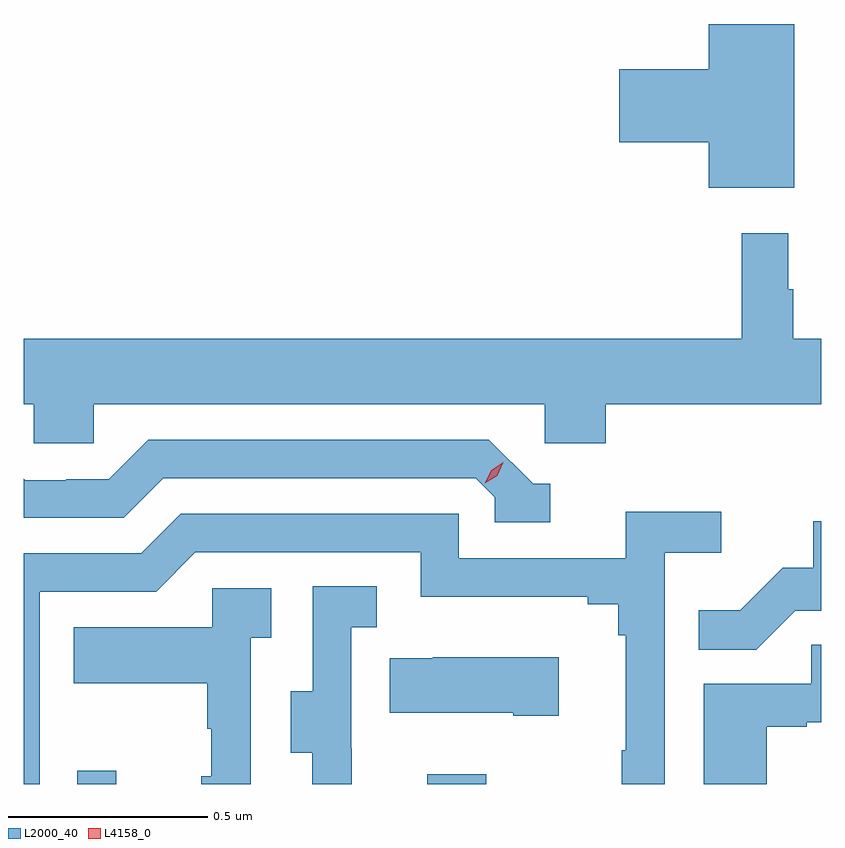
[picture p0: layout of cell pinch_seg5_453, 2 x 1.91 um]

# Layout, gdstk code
import gdstk
lib = gdstk.Library(unit=1e-6, precision=1e-09)
def R(c, l, rs):  # rectangles x0, y0, x1, y1
    for r in rs: c.add(gdstk.rectangle(r[:2], r[2:], *l))
def P(c, l, *ps):  # polygons
    for p in ps: c.add(gdstk.Polygon(p, *l))
L2000_40 = (2000, 40)
L4158_0 = (4158, 0)

pinch_seg5_453 = lib.new_cell('pinch_seg5_453')
R(pinch_seg5_453, L2000_40, [(900.813,873.124,900.911,873.157), (901.691,873.124,901.839,873.148)])
P(pinch_seg5_453, L2000_40, [(902.611,875.029),(902.396,875.029),(902.396,874.916),(902.172,874.916),(902.172,874.733),(902.396,874.733),(902.396,874.619),(902.611,874.619)],
  [(900.855,874.076),(901.986,874.076),(901.986,873.978),(902.138,873.978),(902.138,874.076),(902.679,874.076),(902.679,874.24),(902.608,874.24),(902.608,874.364),(902.596,874.364),(902.596,874.504),(902.479,874.504),(902.479,874.24),(900.679,874.24),(900.679,874.076),(900.705,874.076),(900.705,873.978),(900.855,873.978)],
  [(901.999,873.876),(901.956,873.876),(901.845,873.987),(900.992,873.987),(900.893,873.888),(900.786,873.888),(900.786,873.885),(900.683,873.885),(900.679,873.889),(900.679,873.792),(900.93,873.792),(901.029,873.891),(901.812,873.891),(901.86,873.843),(901.86,873.78),(901.999,873.78)],
  [(900.72,873.606),(901.011,873.606),(901.11,873.705),(901.674,873.705),(901.674,873.593),(902.093,873.593),(902.093,873.574),(902.17,873.574),(902.17,873.497),(902.189,873.497),(902.189,873.209),(902.178,873.209),(902.178,873.124),(902.286,873.124),(902.286,873.704),(902.428,873.704),(902.428,873.806),(902.189,873.806),(902.189,873.69),(901.77,873.69),(901.77,873.801),(901.073,873.801),(900.974,873.702),(900.679,873.702),(900.679,873.124),(900.72,873.124)],
  [(902.613,873.558),(902.679,873.558),(902.679,873.783),(902.659,873.783),(902.659,873.666),(902.582,873.666),(902.475,873.559),(902.371,873.559),(902.371,873.46),(902.515,873.46)],
  [(901.502,873.213),(901.5,873.213),(901.5,873.517),(901.564,873.517),(901.564,873.62),(901.404,873.62),(901.404,873.357),(901.349,873.357),(901.349,873.202),(901.403,873.202),(901.403,873.124),(901.502,873.124)],
  [(901.248,873.491),(901.3,873.491),(901.3,873.615),(901.152,873.615),(901.152,873.517),(900.805,873.517),(900.805,873.377),(901.14,873.377),(901.14,873.263),(901.15,873.263),(901.15,873.144),(901.124,873.144),(901.124,873.124),(901.248,873.124)],
  [(902.542,873.267),(902.642,873.267),(902.642,873.279),(902.679,873.279),(902.679,873.473),(902.653,873.473),(902.653,873.375),(902.384,873.375),(902.384,873.124),(902.542,873.124)],
  [(902.02,873.442),(901.705,873.442),(901.705,873.439),(901.597,873.439),(901.597,873.302),(901.907,873.302),(901.907,873.295),(902.02,873.295)])
P(pinch_seg5_453, L4158_0, [(901.835,873.878),(901.835,873.878),(901.851,873.911),(901.882,873.93),(901.882,873.93),(901.882,873.93),(901.866,873.897),(901.835,873.878)])

lib.write_gds('pinch_seg5_453.gds')
